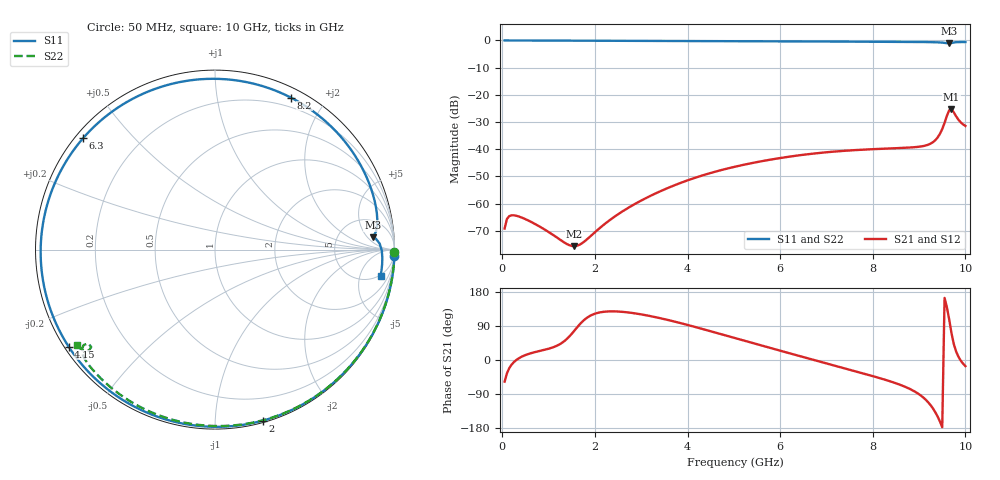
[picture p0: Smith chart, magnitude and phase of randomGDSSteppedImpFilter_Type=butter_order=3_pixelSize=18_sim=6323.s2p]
! freq	dB(S11)	phase(S11)	dB(S12)	phase(S12)
!  dB(S21)	phase(S21)	dB(S22)	phase(S22)
!S-par simulation data
#  GHz  S  DB  R 50
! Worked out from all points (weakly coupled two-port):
!   200 points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, 50 MHz to 10 GHz, reference 50 ohm
!   highest |S21| = -25.30 dB at 9.7 GHz (marker M1); lowest = -75.7 dB at 1.55 GHz (marker M2)
!   lowest |S11| = -1.1 dB at 9.65 GHz (marker M3), VSWR 15.85, Z = 571 + j355 ohm
!   |S11| at or under -10 dB: nowhere
!   |S22| runs from -1.1 to 0.0 dB; largest |S21 - S12| = 0
!   S11 on the Smith chart (normalised r, x): 50 MHz: 0, -59; 2 GHz: 0.01, -1.32; 4.15 GHz: 0.01, -0.30; 6.3 GHz: 0.02, +0.37; 8.2 GHz: 0.10, +1.61; 10 GHz: 4, -11
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0.05  -0.00 -1.9  -69.19 -57.2  -69.19 -57.2  -0.00 -0.9
0.15  -0.00 -5.8  -64.65 -21.6  -64.65 -21.6  -0.00 -2.6
0.3  -0.01 -11.5  -64.48 -0.3  -64.48 -0.3  -0.00 -5.1
0.9  -0.04 -34.3  -69.41 26.5  -69.41 26.5  -0.02 -15.3
1.55  -0.07 -58.2  -75.69 76.4  -75.69 76.4  -0.03 -26.1
1.75  -0.08 -65.4  -74.27 103.7  -74.27 103.7  -0.04 -29.4
2  -0.09 -74.3  -70.57 122.1  -70.57 122.1  -0.04 -33.5
2.7  -0.12 -98.5  -61.78 125.8  -61.78 125.8  -0.06 -44.8
3.4  -0.15 -121.8  -55.57 110.6  -55.57 110.6  -0.07 -55.8
4.15  -0.19 -146.5  -50.60 87.6  -50.60 87.6  -0.09 -67.3
5.05  -0.25 -176.2  -46.35 56.9  -46.35 56.9  -0.12 -80.5
5.7  -0.29 161.4  -44.12 34.8  -44.12 34.8  -0.15 -89.8
6.3  -0.34 139.7  -42.51 14.4  -42.51 14.4  -0.18 -98.2
6.7  -0.37 124.6  -41.66 1.0  -41.66 1.0  -0.20 -103.6
7.45  -0.42 94.8  -40.53 -24.1  -40.53 -24.1  -0.25 -113.7
8.2  -0.48 63.4  -39.85 -49.6  -39.85 -49.6  -0.31 -123.6
8.35  -0.49 57.0  -39.74 -55.2  -39.74 -55.2  -0.32 -125.6
9.3  -0.63 16.8  -37.43 -128.0  -37.43 -128.0  -0.44 -138.7
9.45  -0.73 10.5  -34.36 -162.1  -34.36 -162.1  -0.51 -141.2
9.65  -1.10 4.5  -25.68 107.0  -25.68 107.0  -1.12 -143.5
9.7  -0.94 4.0  -25.30 70.8  -25.30 70.8  -1.14 -141.8
10  -0.59 -9.2  -31.46 -16.1  -31.46 -16.1  -0.58 -145.3
